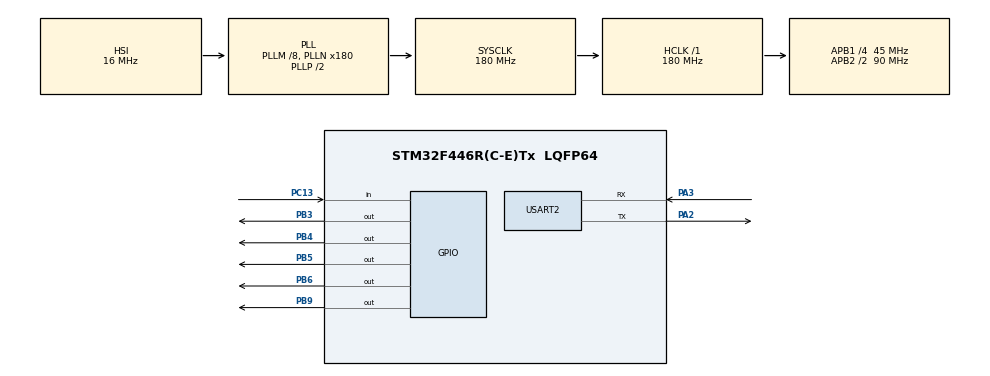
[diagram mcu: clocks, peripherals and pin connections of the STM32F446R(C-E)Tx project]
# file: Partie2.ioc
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FREERTOS.Tasks01=Task1,24,128,StartTask1,Default,NULL,Dynamic,NULL,NULL;Task2,24,128,StartTask2,Default,NULL,Dynamic,NULL,NULL;Task3,24,128,StartTask3,Default,NULL,Dynamic,NULL,NULL;Task4,24,128,StartTask4,Default,NULL,Dynamic,NULL,NULL;Task5,8,128,StartTask5,Default,NULL,Dynamic,NULL,NULL;Task6,8,128,StartTask6,Default,NULL,Dynamic,NULL,NULL
Mcu.Family=STM32F4
Mcu.Name=STM32F446R(C-E)Tx
Mcu.Package=LQFP64
NVIC.PriorityGroup=NVIC_PRIORITYGROUP_4
PA13.Mode=Serial_Wire
PA13.Signal=SYS_JTMS-SWDIO
PA14.Mode=Serial_Wire
PA14.Signal=SYS_JTCK-SWCLK
PA2.Mode=Asynchronous
PA2.Signal=USART2_TX
PA3.Mode=Asynchronous
PA3.Signal=USART2_RX
PB3.Signal=GPIO_Output
PB4.Signal=GPIO_Output
PB5.Signal=GPIO_Output
PB6.Signal=GPIO_Output
PB9.Signal=GPIO_Output
PC13.Signal=GPIO_Input
PH0-OSC_IN.Mode=HSE-External-Oscillator
PH0-OSC_IN.Signal=RCC_OSC_IN
PH1-OSC_OUT.Mode=HSE-External-Oscillator
PH1-OSC_OUT.Signal=RCC_OSC_OUT
ProjectManager.HeapSize=0x200
ProjectManager.StackSize=0x400
ProjectManager.TargetToolchain=STM32CubeIDE
RCC.48MHZClocksFreq_Value=84000000
RCC.AHBFreq_Value=180000000
RCC.APB1CLKDivider=RCC_HCLK_DIV4
RCC.APB1Freq_Value=45000000
RCC.APB1TimFreq_Value=90000000
RCC.APB2CLKDivider=RCC_HCLK_DIV2
RCC.APB2Freq_Value=90000000
RCC.APB2TimFreq_Value=180000000
RCC.CortexFreq_Value=180000000
RCC.FLatency-AdvancedSettings=FLASH_LATENCY_5
RCC.HCLKFreq_Value=180000000
RCC.HSE_VALUE=8000000
RCC.HSI_VALUE=16000000
RCC.PLLM=8
RCC.PLLN=180
RCC.SYSCLKFreq_VALUE=180000000
RCC.SYSCLKSource=RCC_SYSCLKSOURCE_PLLCLK
RCC.USBFreq_Value=180000000
RCC.VCOOutputFreq_Value=360000000
USART2.VirtualMode=VM_ASYNC
VP_FREERTOS_VS_CMSIS_V2.Mode=CMSIS_V2
board=NUCLEO-F446RE

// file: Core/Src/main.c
/* USER CODE BEGIN Header */
/**
  ******************************************************************************
  * @file           : main.c
  * @brief          : Main program body
  ******************************************************************************
  * @attention
  *
  * Copyright (c) 2024 STMicroelectronics.
  * All rights reserved.
  *
  * This software is licensed under terms that can be found in the LICENSE file
  * in the root directory of this software component.
  * If no LICENSE file comes with this software, it is provided AS-IS.
  *
  ******************************************************************************
  */
/* USER CODE END Header */
#include "main.h"
#include "cmsis_os.h"

UART_HandleTypeDef huart2;

/* Definitions for Task1 */
osThreadId_t Task1Handle;
const osThreadAttr_t Task1_attributes = {
  .name = "Task1",
  .stack_size = 128 * 4,
  .priority = (osPriority_t) osPriorityNormal,
};
/* Definitions for Task2 */
osThreadId_t Task2Handle;
const osThreadAttr_t Task2_attributes = {
  .name = "Task2",
  .stack_size = 128 * 4,
  .priority = (osPriority_t) osPriorityNormal,
};
/* Definitions for Task3 */
osThreadId_t Task3Handle;
const osThreadAttr_t Task3_attributes = {
  .name = "Task3",
  .stack_size = 128 * 4,
  .priority = (osPriority_t) osPriorityNormal,
};
/* Definitions for Task4 */
osThreadId_t Task4Handle;
const osThreadAttr_t Task4_attributes = {
  .name = "Task4",
  .stack_size = 128 * 4,
  .priority = (osPriority_t) osPriorityNormal,
};
/* Definitions for Task5 */
osThreadId_t Task5Handle;
const osThreadAttr_t Task5_attributes = {
  .name = "Task5",
  .stack_size = 128 * 4,
  .priority = (osPriority_t) osPriorityLow,
};
/* Definitions for Task6 */
osThreadId_t Task6Handle;
const osThreadAttr_t Task6_attributes = {
  .name = "Task6",
  .stack_size = 128 * 4,
  .priority = (osPriority_t) osPriorityLow,
};

void SystemClock_Config(void);
static void MX_GPIO_Init(void);
static void MX_USART2_UART_Init(void);
void StartTask1(void *argument);
void StartTask2(void *argument);
void StartTask3(void *argument);
void StartTask4(void *argument);
void StartTask5(void *argument);
void StartTask6(void *argument);

int main(void)
{

  /* MCU Configuration--------------------------------------------------------*/

  /* Reset of all peripherals, Initializes the Flash interface and the Systick. */
  HAL_Init();

  /* Configure the system clock */
  SystemClock_Config();

  /* Initialize all configured peripherals */
  MX_GPIO_Init();
  MX_USART2_UART_Init();

  /* Init scheduler */
  osKernelInitialize();

  /* Create the thread(s) */
  /* creation of Task1 */
  Task1Handle = osThreadNew(StartTask1, NULL, &Task1_attributes);

  /* creation of Task2 */
  Task2Handle = osThreadNew(StartTask2, NULL, &Task2_attributes);

  /* creation of Task3 */
  Task3Handle = osThreadNew(StartTask3, NULL, &Task3_attributes);

  /* creation of Task4 */
  Task4Handle = osThreadNew(StartTask4, NULL, &Task4_attributes);

  /* creation of Task5 */
  Task5Handle = osThreadNew(StartTask5, NULL, &Task5_attributes);

  /* creation of Task6 */
  Task6Handle = osThreadNew(StartTask6, NULL, &Task6_attributes);

  /* Start scheduler */
  osKernelStart();

  /* We should never get here as control is now taken by the scheduler */
  /* Infinite loop */
  while (1)
  {

  }
}

void SystemClock_Config(void)
{
  RCC_OscInitTypeDef RCC_OscInitStruct = {0};
  RCC_ClkInitTypeDef RCC_ClkInitStruct = {0};

  /** Configure the main internal regulator output voltage
  */
  __HAL_RCC_PWR_CLK_ENABLE();
  __HAL_PWR_VOLTAGESCALING_CONFIG(PWR_REGULATOR_VOLTAGE_SCALE1);

  /** Initializes the RCC Oscillators according to the specified parameters
  * in the RCC_OscInitTypeDef structure.
  */
  RCC_OscInitStruct.OscillatorType = RCC_OSCILLATORTYPE_HSI;
  RCC_OscInitStruct.HSIState = RCC_HSI_ON;
  RCC_OscInitStruct.HSICalibrationValue = RCC_HSICALIBRATION_DEFAULT;
  RCC_OscInitStruct.PLL.PLLState = RCC_PLL_ON;
  RCC_OscInitStruct.PLL.PLLSource = RCC_PLLSOURCE_HSI;
  RCC_OscInitStruct.PLL.PLLM = 8;
  RCC_OscInitStruct.PLL.PLLN = 180;
  RCC_OscInitStruct.PLL.PLLP = RCC_PLLP_DIV2;
  RCC_OscInitStruct.PLL.PLLQ = 2;
  RCC_OscInitStruct.PLL.PLLR = 2;
  if (HAL_RCC_OscConfig(&RCC_OscInitStruct) != HAL_OK)
  {
    Error_Handler();
  }

  /** Activate the Over-Drive mode
  */
  if (HAL_PWREx_EnableOverDrive() != HAL_OK)
  {
    Error_Handler();
  }

  /** Initializes the CPU, AHB and APB buses clocks
  */
  RCC_ClkInitStruct.ClockType = RCC_CLOCKTYPE_HCLK|RCC_CLOCKTYPE_SYSCLK
                              |RCC_CLOCKTYPE_PCLK1|RCC_CLOCKTYPE_PCLK2;
  RCC_ClkInitStruct.SYSCLKSource = RCC_SYSCLKSOURCE_PLLCLK;
  RCC_ClkInitStruct.AHBCLKDivider = RCC_SYSCLK_DIV1;
  RCC_ClkInitStruct.APB1CLKDivider = RCC_HCLK_DIV4;
  RCC_ClkInitStruct.APB2CLKDivider = RCC_HCLK_DIV2;

  if (HAL_RCC_ClockConfig(&RCC_ClkInitStruct, FLASH_LATENCY_5) != HAL_OK)
  {
    Error_Handler();
  }
}

static void MX_USART2_UART_Init(void)
{

  huart2.Instance = USART2;
  huart2.Init.BaudRate = 115200;
  huart2.Init.WordLength = UART_WORDLENGTH_8B;
  huart2.Init.StopBits = UART_STOPBITS_1;
  huart2.Init.Parity = UART_PARITY_NONE;
  huart2.Init.Mode = UART_MODE_TX_RX;
  huart2.Init.HwFlowCtl = UART_HWCONTROL_NONE;
  huart2.Init.OverSampling = UART_OVERSAMPLING_16;
  if (HAL_UART_Init(&huart2) != HAL_OK)
  {
    Error_Handler();
  }

}

static void MX_GPIO_Init(void)
{
  GPIO_InitTypeDef GPIO_InitStruct = {0};

  /* GPIO Ports Clock Enable */
  __HAL_RCC_GPIOC_CLK_ENABLE();
  __HAL_RCC_GPIOH_CLK_ENABLE();
  __HAL_RCC_GPIOA_CLK_ENABLE();
  __HAL_RCC_GPIOB_CLK_ENABLE();

  /*Configure GPIO pin Output Level */
  HAL_GPIO_WritePin(GPIOB, GPIO_PIN_3|GPIO_PIN_4|GPIO_PIN_5|GPIO_PIN_6
                          |GPIO_PIN_9, GPIO_PIN_RESET);

  /*Configure GPIO pin : PC13 */
  GPIO_InitStruct.Pin = GPIO_PIN_13;
  GPIO_InitStruct.Mode = GPIO_MODE_INPUT;
  GPIO_InitStruct.Pull = GPIO_NOPULL;
  HAL_GPIO_Init(GPIOC, &GPIO_InitStruct);

  /*Configure GPIO pins : PB3 PB4 PB5 PB6
                           PB9 */
  GPIO_InitStruct.Pin = GPIO_PIN_3|GPIO_PIN_4|GPIO_PIN_5|GPIO_PIN_6
                          |GPIO_PIN_9;
  GPIO_InitStruct.Mode = GPIO_MODE_OUTPUT_PP;
  GPIO_InitStruct.Pull = GPIO_NOPULL;
  GPIO_InitStruct.Speed = GPIO_SPEED_FREQ_LOW;
  HAL_GPIO_Init(GPIOB, &GPIO_InitStruct);

}

void StartTask1(void *argument) // auto vert
{
  /* USER CODE BEGIN 5 */
  /* Infinite loop */
  for(;;)
  {
	  // for btn press HAL_GPIO_ReadPin(GPIOC_ GPIO_PIN_13)
	  HAL_GPIO_TogglePin(GPIOB, GPIO_PIN_3);
	  while(1){
		  if( HAL_GPIO_ReadPin(GPIOC, GPIO_PIN_13) == 0 ){
			  break;
		  }
	  }

	  HAL_GPIO_TogglePin(GPIOB, GPIO_PIN_3);
	  osDelay(17000);

  }
  /* USER CODE END 5 */
}

void StartTask2(void *argument) // auto jaune
{
  /* USER CODE BEGIN StartTask2 */
  /* Infinite loop */
  for(;;)
  {
	  while(1){
	  		  if( HAL_GPIO_ReadPin(GPIOC, GPIO_PIN_13) == 0 ){
	  			  break;
	  		  }
	  	  }

	  	  HAL_GPIO_TogglePin(GPIOB, GPIO_PIN_4);
	  	  osDelay(3000);
	  	  HAL_GPIO_TogglePin(GPIOB, GPIO_PIN_4);
	  	  osDelay(12000);
	  	  HAL_GPIO_TogglePin(GPIOB, GPIO_PIN_4);
	  	  osDelay(2000);
	  	  HAL_GPIO_TogglePin(GPIOB, GPIO_PIN_4);
  }
  /* USER CODE END StartTask2 */
}

void StartTask3(void *argument) // auto rouge
{
  /* USER CODE BEGIN StartTask3 */
  /* Infinite loop */
  for(;;)
  {
	  while(1){
		  if( HAL_GPIO_ReadPin(GPIOC, GPIO_PIN_13) == 0 ){
			  break;
		  }
	  }

	  osDelay(3000);
  	  HAL_GPIO_TogglePin(GPIOB, GPIO_PIN_5);

		 osDelay(14000);
		 HAL_GPIO_TogglePin(GPIOB, GPIO_PIN_5);
  }
  /* USER CODE END StartTask3 */
}

void StartTask4(void *argument) // peiton rouge
{
  /* USER CODE BEGIN StartTask4 */
  /* Infinite loop */
  for(;;)
  {

	 HAL_GPIO_TogglePin(GPIOB, GPIO_PIN_9);
	  while(1){
		  if( HAL_GPIO_ReadPin(GPIOC, GPIO_PIN_13) == 0 ){
			  break;
		  }
	  }
	  osDelay(4000);
	  HAL_GPIO_TogglePin(GPIOB, GPIO_PIN_9);
	  osDelay(10000);
  }
  /* USER CODE END StartTask4 */
}

void StartTask5(void *argument) // peiton vert
{
  /* USER CODE BEGIN StartTask5 */
  /* Infinite loop */
  for(;;)
  {
	  while(1){
		  if( HAL_GPIO_ReadPin(GPIOC, GPIO_PIN_13) == 0 ){
			  break;
		  }
	  }
	  osDelay(4000);
	  HAL_GPIO_TogglePin(GPIOB, GPIO_PIN_6);
	  osDelay(9999);
	  HAL_GPIO_TogglePin(GPIOB, GPIO_PIN_6);

  }
  /* USER CODE END StartTask5 */
}

void StartTask6(void *argument)
{
  /* USER CODE BEGIN StartTask6 */
  /* Infinite loop */
  for(;;)
  {
//	  HAL_GPIO_TogglePin(GPIOB, GPIO_PIN_5);
//	  HAL_GPIO_TogglePin(GPIOB, GPIO_PIN_4);
//	  HAL_GPIO_TogglePin(GPIOB, GPIO_PIN_7);
//	  osDelay(2000);
  }
  /* USER CODE END StartTask6 */
}

void Error_Handler(void)
{
  __disable_irq();
  while (1)
  {
  }
}
